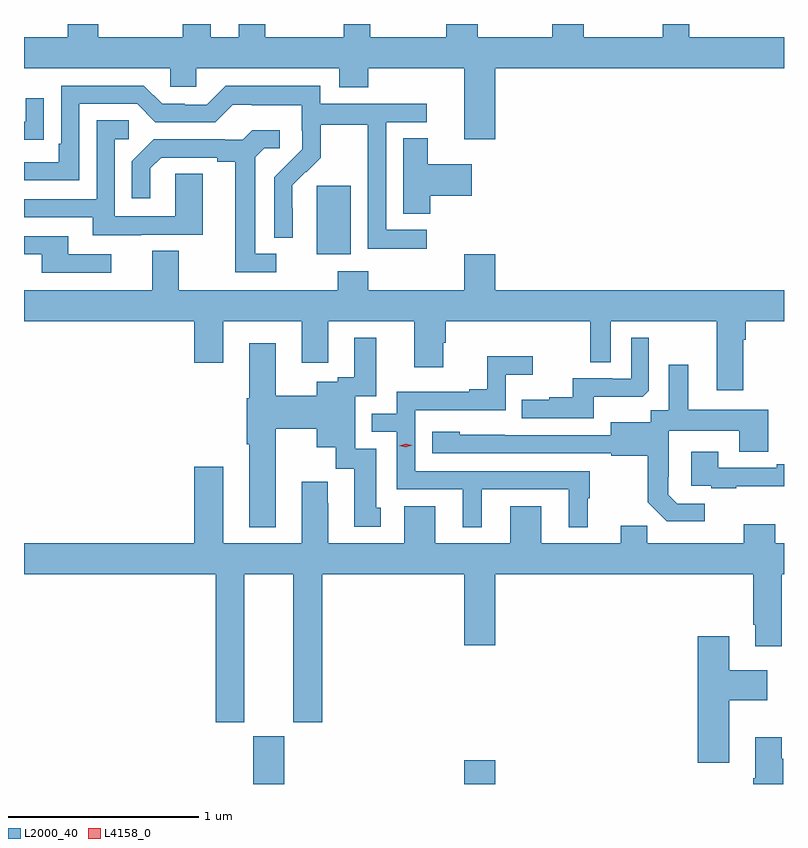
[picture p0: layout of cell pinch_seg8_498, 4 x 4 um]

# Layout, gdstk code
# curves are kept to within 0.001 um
import gdstk
lib = gdstk.Library(unit=1e-6, precision=1e-09)
def R(c, l, rs):  # rectangles x0, y0, x1, y1
    for r in rs: c.add(gdstk.rectangle(r[:2], r[2:], *l))
def P(c, l, *ps):  # polygons
    for p in ps: c.add(gdstk.Polygon(p, *l))
L2000_40 = (2000, 40)
L4158_0 = (4158, 0)

pinch_seg8_498 = lib.new_cell('pinch_seg8_498')
R(pinch_seg8_498, L2000_40, [(223.838,1112.733,224.002,1112.985), (224.948,1112.733,225.112,1112.857), (224.174,1115.522,224.353,1115.883)])
P(pinch_seg8_498, L2000_40, [(225.112,1116.5),(226.632,1116.5),(226.632,1116.664),(226.133,1116.664),(226.133,1116.733),(225.995,1116.733),(225.995,1116.664),(225.577,1116.664),(225.577,1116.733),(225.413,1116.733),(225.413,1116.664),(225.019,1116.664),(225.019,1116.733),(224.855,1116.733),(224.855,1116.664),(224.455,1116.664),(224.455,1116.733),(224.315,1116.733),(224.315,1116.664),(223.903,1116.664),(223.903,1116.733),(223.763,1116.733),(223.763,1116.664),(223.615,1116.664),(223.615,1116.733),(223.468,1116.733),(223.468,1116.664),(223.023,1116.664),(223.023,1116.733),(222.863,1116.733),(222.863,1116.664),(222.632,1116.664),(222.632,1116.5),(223.401,1116.5),(223.401,1116.402),(223.539,1116.402),(223.539,1116.5),(224.291,1116.5),(224.291,1116.401),(224.444,1116.401),(224.444,1116.5),(224.948,1116.5),(224.948,1116.126),(225.112,1116.126)],
  [(224.752,1115.649),(224.538,1115.649),(224.538,1116.216),(224.752,1116.216),(224.752,1116.312),(224.19,1116.312),(224.19,1116.409),(223.693,1116.409),(223.593,1116.309),(223.478,1116.309),(223.478,1116.312),(223.359,1116.312),(223.263,1116.408),(222.828,1116.408),(222.828,1116.103),(222.815,1116.103),(222.815,1116.006),(222.632,1116.006),(222.632,1115.91),(222.924,1115.91),(222.924,1116.312),(223.227,1116.312),(223.323,1116.216),(223.638,1116.216),(223.731,1116.309),(223.831,1116.309),(223.831,1116.305),(224.094,1116.305),(224.094,1116.171),(224.096,1116.171),(224.096,1116.074),(223.95,1115.926),(223.95,1115.608),(224.046,1115.608),(224.045,1115.885),(224.115,1115.955),(224.118,1115.952),(224.195,1116.029),(224.195,1116.204),(224.44,1116.204),(224.44,1115.98),(224.442,1115.98),(224.442,1115.551),(224.752,1115.551)],
  [(222.635,1116.124),(222.737,1116.124),(222.737,1116.343),(222.641,1116.343),(222.641,1116.219),(222.632,1116.219),(222.632,1116.123),(222.635,1116.123)],
  [(223.249,1115.625),(223.573,1115.625),(223.573,1115.945),(223.428,1115.945),(223.428,1115.721),(223.11,1115.721),(223.11,1116.126),(223.183,1116.126),(223.183,1116.227),(223.014,1116.227),(223.014,1115.811),(222.632,1115.811),(222.632,1115.715),(222.995,1115.715),(222.995,1115.621),(223.249,1115.621)],
  [(223.96,1115.523),(223.849,1115.523),(223.849,1116.031),(223.896,1116.078),(223.978,1116.078),(223.978,1116.175),(223.834,1116.175),(223.782,1116.123),(223.688,1116.123),(223.688,1116.126),(223.316,1116.126),(223.2,1116.01),(223.2,1115.817),(223.297,1115.817),(223.297,1115.973),(223.354,1116.03),(223.649,1116.03),(223.649,1116.008),(223.745,1116.008),(223.745,1115.427),(223.96,1115.427)],
  [(224.771,1115.83),(224.989,1115.83),(224.989,1115.995),(224.758,1115.995),(224.758,1116.131),(224.627,1116.131),(224.627,1115.734),(224.771,1115.734)],
  [(223.09,1115.52),(222.865,1115.52),(222.865,1115.616),(222.632,1115.616),(222.632,1115.52),(222.725,1115.52),(222.725,1115.424),(223.09,1115.424)],
  [(223.447,1115.54),(223.307,1115.54),(223.307,1115.332),(222.632,1115.332),(222.632,1115.168),(223.529,1115.168),(223.529,1114.95),(223.681,1114.95),(223.681,1115.168),(224.093,1115.168),(224.093,1114.95),(224.233,1114.95),(224.233,1115.168),(224.687,1115.168),(224.687,1114.926),(224.839,1114.926),(224.839,1115.055),(224.852,1115.055),(224.852,1115.168),(225.612,1115.168),(225.612,1114.954),(225.72,1114.954),(225.72,1115.168),(226.277,1115.168),(226.277,1114.806),(226.417,1114.806),(226.417,1115.072),(226.43,1115.072),(226.43,1115.168),(226.632,1115.168),(226.632,1115.332),(225.112,1115.332),(225.112,1115.521),(224.948,1115.521),(224.948,1115.332),(224.444,1115.332),(224.444,1115.431),(224.284,1115.431),(224.284,1115.332),(223.447,1115.332)],
  [(225.631,1114.772),(225.889,1114.772),(225.921,1114.803),(225.921,1115.083),(225.828,1115.083),(225.828,1114.866),(225.728,1114.866),(225.728,1114.869),(225.521,1114.869),(225.521,1114.768),(225.397,1114.768),(225.397,1114.756),(225.253,1114.756),(225.253,1114.659),(225.631,1114.659)],
  [(223.957,1114.604),(224.174,1114.604),(224.174,1114.505),(224.273,1114.505),(224.273,1114.392),(224.369,1114.392),(224.369,1114.086),(224.509,1114.086),(224.509,1114.188),(224.485,1114.188),(224.485,1114.497),(224.376,1114.497),(224.376,1114.773),(224.485,1114.773),(224.485,1115.083),(224.369,1115.083),(224.369,1114.874),(224.283,1114.874),(224.283,1114.849),(224.174,1114.849),(224.174,1114.776),(223.957,1114.776),(223.957,1115.053),(223.817,1115.053),(223.817,1114.764),(223.805,1114.764),(223.805,1114.52),(223.817,1114.52),(223.817,1114.085),(223.957,1114.085)],
  [(225.04,1114.284),(225.5,1114.284),(225.5,1114.085),(225.598,1114.085),(225.598,1114.236),(225.61,1114.236),(225.61,1114.38),(224.691,1114.38),(224.691,1114.701),(225.168,1114.701),(225.168,1114.886),(225.31,1114.886),(225.31,1114.985),(225.07,1114.985),(225.07,1114.81),(224.975,1114.81),(224.975,1114.797),(224.595,1114.797),(224.595,1114.683),(224.462,1114.683),(224.462,1114.587),(224.595,1114.587),(224.595,1114.284),(224.942,1114.284),(224.942,1114.085),(225.04,1114.085)],
  [(226.216,1114.209),(226.071,1114.209),(226.024,1114.256),(226.024,1114.351),(226.026,1114.351),(226.026,1114.592),(226.397,1114.592),(226.397,1114.483),(226.549,1114.483),(226.549,1114.702),(226.129,1114.702),(226.129,1114.939),(226.025,1114.939),(226.025,1114.7),(225.93,1114.7),(225.93,1114.636),(225.719,1114.636),(225.719,1114.569),(224.925,1114.57),(224.925,1114.588),(224.781,1114.588),(224.781,1114.473),(225.723,1114.473),(225.723,1114.461),(225.915,1114.461),(225.915,1114.215),(226.015,1114.115),(226.216,1114.115)],
  [(226.381,1114.301),(226.632,1114.301),(226.632,1114.417),(226.595,1114.417),(226.595,1114.398),(226.285,1114.398),(226.285,1114.483),(226.145,1114.483),(226.145,1114.302),(226.249,1114.302),(226.249,1114.29),(226.381,1114.29)],
  [(223.792,1113.836),(224.048,1113.836),(224.048,1113.057),(224.201,1113.057),(224.201,1113.836),(224.948,1113.836),(224.948,1113.462),(225.112,1113.462),(225.112,1113.836),(226.469,1113.836),(226.469,1113.571),(226.481,1113.571),(226.481,1113.459),(226.621,1113.459),(226.621,1113.836),(226.632,1113.836),(226.632,1114),(226.585,1114),(226.585,1114.099),(226.421,1114.099),(226.421,1114),(225.911,1114),(225.911,1114.091),(225.773,1114.091),(225.773,1114),(225.355,1114),(225.355,1114.195),(225.191,1114.195),(225.191,1114),(224.797,1114),(224.797,1114.195),(224.633,1114.195),(224.633,1114),(224.233,1114),(224.233,1114.211),(224.23,1114.211),(224.23,1114.324),(224.093,1114.324),(224.093,1114),(223.681,1114),(223.681,1114.402),(223.529,1114.402),(223.529,1114),(222.632,1114),(222.632,1113.836),(223.64,1113.836),(223.64,1113.057),(223.792,1113.057)],
  [(226.345,1113.173),(226.543,1113.173),(226.543,1113.331),(226.345,1113.331),(226.345,1113.511),(226.178,1113.511),(226.178,1112.844),(226.345,1112.844)],
  [(226.629,1112.867),(226.621,1112.867),(226.621,1112.98),(226.481,1112.98),(226.481,1112.764),(226.469,1112.764),(226.469,1112.733),(226.629,1112.733)])
P(pinch_seg8_498, L4158_0, [(224.642,1114.505),(224.607,1114.512),(224.606,1114.512),(224.607,1114.512),(224.64,1114.524),(224.675,1114.517),(224.676,1114.517),(224.675,1114.517)])

lib.write_gds('pinch_seg8_498.gds')
